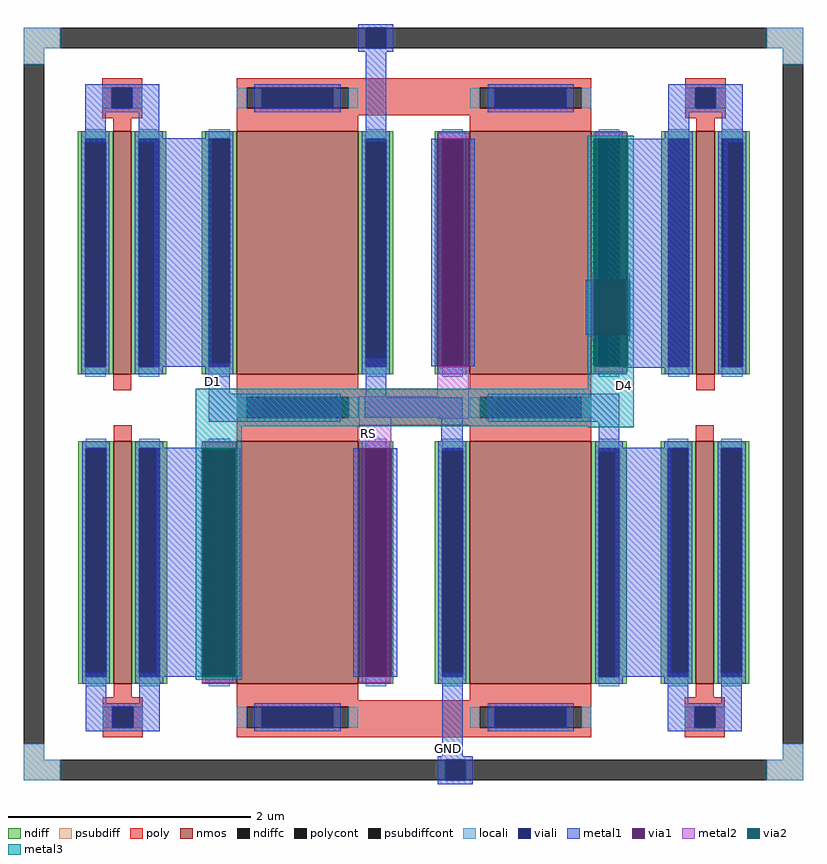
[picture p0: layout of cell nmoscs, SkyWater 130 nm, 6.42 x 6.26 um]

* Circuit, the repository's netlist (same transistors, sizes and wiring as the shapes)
** sch_path: /home/naumisst/opamp/mag/nmosdp.sch
.subckt nmosdp D1 D4 GND RS
*.PININFO D1:B D4:B GND:B RS:B
XM3 D1 D1 GND GND sky130_fd_pr__nfet_01v8 L=1 W=2 nf=1 m=2
XM4 D4 D1 RS GND sky130_fd_pr__nfet_01v8 L=1 W=2 nf=1 m=2
XM1 D1 D1 D1 GND sky130_fd_pr__nfet_01v8 L=0.15 W=2 nf=1 m=2
XM2 D4 D4 D4 GND sky130_fd_pr__nfet_01v8 L=0.15 W=2 nf=1 m=2
.ends
.end

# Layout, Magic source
magic
tech sky130A
magscale 1 2
<< psubdiff >>
rect -293 625 -233 659
rect 931 625 991 659
rect -293 599 -259 625
rect 957 599 991 625
rect -293 -547 -259 -521
rect 957 -547 991 -521
rect -293 -581 -233 -547
rect 931 -581 991 -547
<< psubdiffcont >>
rect -233 625 931 659
rect -293 -521 -259 599
rect 957 -521 991 599
rect -233 -581 931 -547
<< poly >>
rect 253 515 449 576
rect 250 4 451 64
rect 252 -510 448 -449
<< locali >>
rect -293 625 -233 659
rect 931 625 991 659
rect -293 599 -259 625
rect -293 -547 -259 -521
rect 957 599 991 625
rect 957 -547 991 -521
rect -293 -581 -233 -547
rect 931 -581 991 -547
<< viali >>
rect 270 625 304 659
rect 401 -581 435 -547
<< metal1 >>
rect 258 659 316 665
rect 258 625 270 659
rect 304 625 316 659
rect 258 619 316 625
rect -192 470 -158 566
rect -104 477 -70 566
rect -104 470 17 477
rect 270 471 304 619
rect 769 476 803 566
rect 857 479 891 566
rect -78 106 17 470
rect -78 100 46 106
rect 12 56 46 100
rect 12 10 96 56
rect 270 50 304 114
rect 378 101 388 476
rect 440 101 450 476
rect 669 244 803 476
rect 633 153 643 244
rect 705 153 803 244
rect 669 99 803 153
rect 860 470 891 479
rect 860 99 867 470
rect 269 16 430 50
rect -75 -34 18 -33
rect 270 -34 304 -33
rect -75 -404 2 -34
rect -191 -500 -157 -404
rect -103 -410 2 -404
rect 54 -410 64 -34
rect 250 -410 260 -34
rect 312 -410 322 -34
rect 395 -38 430 16
rect 604 10 688 56
rect 654 -33 688 10
rect 654 -40 774 -33
rect 681 -404 774 -40
rect -103 -500 -69 -410
rect 396 -541 430 -404
rect 681 -410 802 -404
rect 768 -500 802 -410
rect 856 -500 890 -404
rect 389 -547 447 -541
rect 389 -581 401 -547
rect 435 -581 447 -547
rect 389 -587 447 -581
<< via1 >>
rect 388 101 440 476
rect 643 153 705 244
rect 2 -410 54 -34
rect 260 -410 312 -34
<< metal2 >>
rect 388 476 440 486
rect 646 476 702 486
rect 643 244 646 254
rect 702 244 705 254
rect 643 143 646 153
rect 388 52 440 101
rect 702 143 705 153
rect 646 91 702 101
rect 259 16 440 52
rect 0 -34 56 -24
rect 0 -420 56 -410
rect 260 -34 312 16
rect 388 15 440 16
rect 260 -420 312 -410
<< via2 >>
rect 646 244 702 476
rect 646 153 702 244
rect 646 101 702 153
rect 0 -410 2 -34
rect 2 -410 54 -34
rect 54 -410 56 -34
<< metal3 >>
rect 636 476 712 481
rect 636 101 646 476
rect 702 101 712 476
rect 636 64 712 101
rect -10 2 712 64
rect -10 -34 66 2
rect 636 1 712 2
rect -10 -410 0 -34
rect 56 -410 66 -34
rect -10 -415 66 -410
use sky130_fd_pr__nfet_01v8_7QRB7N  sky130_fd_pr__nfet_01v8_7QRB7N_0
transform 1 0 158 0 1 288
box -158 -288 158 288
use sky130_fd_pr__nfet_01v8_46AAJJ  sky130_fd_pr__nfet_01v8_46AAJJ_0
transform 1 0 158 0 1 -222
box -158 -288 158 288
use sky130_fd_pr__nfet_01v8_46AAJJ  sky130_fd_pr__nfet_01v8_46AAJJ_1
transform 1 0 542 0 1 -222
box -158 -288 158 288
use sky130_fd_pr__nfet_01v8_46AAJJ  sky130_fd_pr__nfet_01v8_46AAJJ_2
transform 1 0 542 0 1 288
box -158 -288 158 288
use sky130_fd_pr__nfet_01v8_TCR5KT  sky130_fd_pr__nfet_01v8_TCR5KT_0
transform -1 0 829 0 -1 -253
box -73 -257 73 257
use sky130_fd_pr__nfet_01v8_TCR5KT  sky130_fd_pr__nfet_01v8_TCR5KT_1
transform 1 0 -131 0 1 319
box -73 -257 73 257
use sky130_fd_pr__nfet_01v8_TCR5KT  sky130_fd_pr__nfet_01v8_TCR5KT_2
transform 1 0 830 0 1 319
box -73 -257 73 257
use sky130_fd_pr__nfet_01v8_TCR5KT  sky130_fd_pr__nfet_01v8_TCR5KT_3
transform -1 0 -130 0 -1 -253
box -73 -257 73 257
<< labels >>
flabel metal1 19 76 21 77 0 FreeSans 800 0 0 0 D1
port 0 nsew
flabel metal2 274 -9 276 -9 0 FreeSans 800 0 0 0 RS
port 1 nsew
flabel metal3 690 68 704 70 0 FreeSans 800 0 0 0 D4
port 2 nsew
flabel metal1 407 -528 407 -528 0 FreeSans 800 0 0 0 GND
port 3 nsew
<< end >>

# cell sky130_fd_pr__nfet_01v8_7QRB7N: kit device sky130_fd_pr__nfet_01v8, w 2 l 1 m 1 nf 1 diffcov 100 polycov 100 guard 0 glc 1 grc 1 gtc 1 gbc 1 tbcov 60 rlcov 100 topc 1 botc 1 poverlap 0 doverlap 1 lmin 0.15 wmin 0.42 compatible {sky130_fd_pr__nfet_01v8 sky130_fd_pr__nfet_01v8_lvt sky130_fd_bs_flash__special_sonosfet_star sky130_fd_pr__nfet_g5v0d10v5 sky130_fd_pr__nfet_05v0_nvt sky130_fd_pr__nfet_03v3_nvt} full_metal 1 viasrc 100 viadrn 100 viagate 70 viagb 0 viagr 0 viagl 0 viagt 0

# cell sky130_fd_pr__nfet_01v8_46AAJJ: kit device sky130_fd_pr__nfet_01v8, w 2 l 1 m 1 nf 1 diffcov 100 polycov 100 guard 0 glc 1 grc 1 gtc 1 gbc 1 tbcov 100 rlcov 100 topc 1 botc 1 poverlap 0 doverlap 1 lmin 0.15 wmin 0.42 compatible {sky130_fd_pr__nfet_01v8 sky130_fd_pr__nfet_01v8_lvt sky130_fd_bs_flash__special_sonosfet_star sky130_fd_pr__nfet_g5v0d10v5 sky130_fd_pr__nfet_05v0_nvt sky130_fd_pr__nfet_03v3_nvt} full_metal 1 viasrc 100 viadrn 100 viagate 70 viagb 0 viagr 0 viagl 0 viagt 0

# cell sky130_fd_pr__nfet_01v8_TCR5KT: kit device sky130_fd_pr__nfet_01v8, w 2 l 0.150 m 1 nf 1 diffcov 100 polycov 100 guard 0 glc 1 grc 1 gtc 1 gbc 1 tbcov 100 rlcov 100 topc 1 botc 0 poverlap 0 doverlap 1 lmin 0.15 wmin 0.42 compatible {sky130_fd_pr__nfet_01v8 sky130_fd_pr__nfet_01v8_lvt sky130_fd_bs_flash__special_sonosfet_star sky130_fd_pr__nfet_g5v0d10v5 sky130_fd_pr__nfet_05v0_nvt sky130_fd_pr__nfet_03v3_nvt} full_metal 1 viasrc 100 viadrn 100 viagate 100 viagb 0 viagr 0 viagl 0 viagt 0
